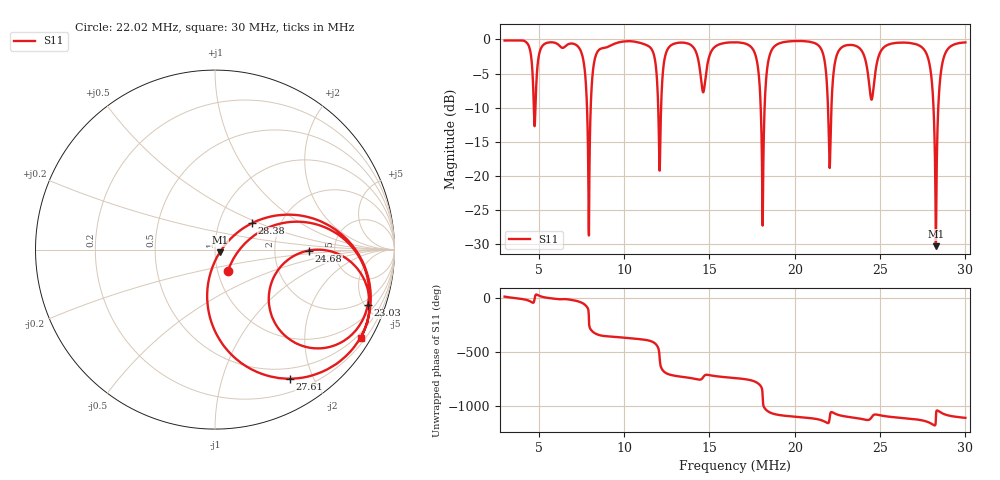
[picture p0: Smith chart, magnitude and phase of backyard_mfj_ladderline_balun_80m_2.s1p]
! Touchstone file generated by AntScope2
# MHz Z RI R 50
! Format: Frequency Z-real Z-imaginary (normalized to 50 Ohm)
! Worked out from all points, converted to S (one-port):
!   2001 points, 3 MHz to 30 MHz, reference 50 ohm
!   lowest |S11| = -30.3 dB at 28.27 MHz (marker M1), VSWR 1.06, Z = 52.6 - j1.69 ohm
!   |S11| at or under -10 dB: 7.828 MHz to 8.045 MHz (216.1 kHz wide, 2.72 % of centre); 18.01 MHz to 18.23 MHz (227 kHz wide, 1.25 % of centre); 28.13 MHz to 28.41 MHz (278.5 kHz wide, 0.985 % of centre)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
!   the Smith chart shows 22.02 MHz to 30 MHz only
!   S11 on the Smith chart (normalised r, x): 22.02 MHz: 1.12, -0.28; 23.03 MHz: 1.52, -5.25; 24.68 MHz: 3.18, -0.05; 27.61 MHz: 0.36, -1.68; 28.38 MHz: 1.43, +0.45; 30 MHz: 0.35, -3.53
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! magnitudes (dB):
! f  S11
! 3 MHz  -0.2
! 4.769 MHz  -12.6
! 6.375 MHz  -1.2
! 7.522 MHz  -2.1
! 7.941 MHz  -28.7
! 8.346 MHz  -2.3
! 9.75 MHz  -0.4
! 11.63 MHz  -1.5
! 12.09 MHz  -19.2
! 12.42 MHz  -2.3
! 13.12 MHz  -0.5
! 14.64 MHz  -7.8
! 16.5 MHz  -0.4
! 17.7 MHz  -2.3
! 18.12 MHz  -27.3
! 18.55 MHz  -2.2
! 19.88 MHz  -0.3
! 21.56 MHz  -1.5
! 22.02 MHz  -17.1
! 23.03 MHz  -0.9
! 23.25 MHz  -0.8
! 24.68 MHz  -5.6
! 26.62 MHz  -0.5
! 27.61 MHz  -1.6
! 28.27 MHz  -30.3
! 28.38 MHz  -12.0
! 28.74 MHz  -2.6
! 30 MHz  -0.4
